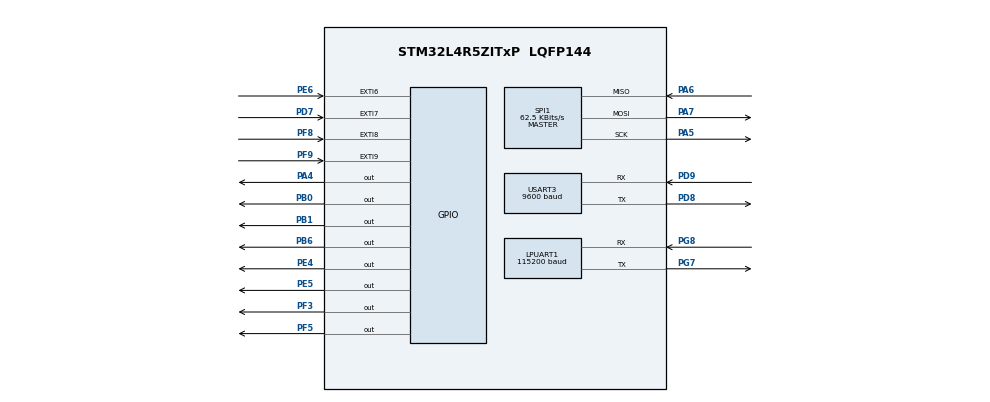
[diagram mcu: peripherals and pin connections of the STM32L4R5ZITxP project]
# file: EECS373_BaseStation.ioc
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LPUART1.BaudRate=115200
LPUART1.WordLength=UART_WORDLENGTH_8B
Mcu.Family=STM32L4
Mcu.Name=STM32L4R5ZITxP
Mcu.Package=LQFP144
NVIC.EXTI9_5_IRQn=true\:0\:0\:false\:false\:true\:true\:true\:true
NVIC.PriorityGroup=NVIC_PRIORITYGROUP_4
PA0.Signal=S_TIM2_CH1
PA1.Signal=ADCx_IN6
PA10.Signal=USB_OTG_FS_ID
PA13\ (JTMS/SWDIO).Signal=SYS_JTMS-SWDIO
PA14\ (JTCK/SWCLK).Signal=SYS_JTCK-SWCLK
PA3.Signal=ADCx_IN8
PA4.Signal=GPIO_Output
PA5.Mode=Full_Duplex_Master
PA5.Signal=SPI1_SCK
PA6.Mode=Full_Duplex_Master
PA6.Signal=SPI1_MISO
PA7.Mode=Full_Duplex_Master
PA7.Signal=SPI1_MOSI
PA8.Signal=USB_OTG_FS_SOF
PA9.Signal=USB_OTG_FS_VBUS
PB0.Signal=GPIO_Output
PB1.Signal=GPIO_Output
PB10.Signal=S_TIM2_CH3
PB12.Signal=SAI2_FS_A
PB13.Signal=SAI2_SCK_A
PB14.Signal=S_TIM15_CH1
PB15.Signal=SAI2_SD_A
PB2.Signal=COMP1_INP
PB3\ (JTDO/TRACESWO).Signal=SPI3_SCK
PB4\ (NJTRST).Signal=SPI3_MISO
PB5.Signal=SPI3_MOSI
PB6.Signal=GPIO_Output
PB8.Signal=I2C1_SCL
PB9.Signal=I2C1_SDA
PC0.Signal=ADCx_IN1
PC1.Signal=ADCx_IN2
PC10.Signal=SDMMC1_D2
PC11.Signal=SDMMC1_D3
PC12.Signal=SDMMC1_CK
PC13.Signal=SYS_WKUP2
PC14-OSC32_IN\ (PC14).Signal=RCC_OSC32_IN
PC15-OSC32_OUT\ (PC15).Signal=RCC_OSC32_OUT
PC2.Signal=ADCx_IN3
PC3.Signal=ADCx_IN4
PC4.Signal=ADCx_IN13
PC5.Signal=ADCx_IN14
PC6.Signal=SAI2_MCLK_A
PC7.Signal=S_TIM3_CH2
PC8.Signal=SDMMC1_D0
PC9.Signal=SDMMC1_D1
PD0.Signal=CAN1_RX
PD14.Signal=S_TIM4_CH3
PD15.Signal=S_TIM4_CH4
PD2.Signal=SDMMC1_CMD
PD3.Signal=USART2_CTS
PD4.Signal=USART2_RTS
PD5.Signal=USART2_TX
PD6.Signal=USART2_RX
PD7.GPIO_PuPd=GPIO_PULLDOWN
PD7.Signal=GPXTI7
PD8.Mode=Asynchronous
PD8.Signal=USART3_TX
PD9.Mode=Asynchronous
PD9.Signal=USART3_RX
PE0.Signal=S_TIM4_ETR
PE10.Signal=TIM1_CH2N
PE11.Signal=S_TIM1_CH2
PE12.Signal=TIM1_CH3N
PE13.Signal=S_TIM1_CH3
PE14.Signal=TIM1_BKIN2
PE15.Signal=TIM1_BKIN
PE2.Signal=SAI1_MCLK_A
PE3.Signal=SAI1_SD_B
PE4.Signal=GPIO_Output
PE5.Signal=GPIO_Output
PE6.GPIO_PuPd=GPIO_PULLDOWN
PE6.Signal=GPXTI6
PE7.Signal=S_TIM1_ETR
PE8.Signal=TIM1_CH1N
PE9.Signal=S_TIM1_CH1
PF0.Signal=I2C2_SDA
PF1.Signal=I2C2_SCL
PF2.Signal=I2C2_SMBA
PF3.Signal=GPIO_Output
PF5.Signal=GPIO_Output
PF7.Signal=SAI1_MCLK_B
PF8.GPIO_PuPd=GPIO_PULLDOWN
PF8.Signal=GPXTI8
PF9.GPIO_PuPd=GPIO_PULLDOWN
PF9.Signal=GPXTI9
PG7.Mode=Asynchronous
PG7.Signal=LPUART1_TX
PG8.Mode=Asynchronous
PG8.Signal=LPUART1_RX
PH0-OSC_IN\ (PH0).Signal=RCC_OSC_IN
PH1-OSC_OUT\ (PH1).Signal=RCC_OSC_OUT
ProjectManager.HeapSize=0x200
ProjectManager.StackSize=0x400
ProjectManager.TargetToolchain=STM32CubeIDE
RCC.HSE_VALUE=8000000
RCC.HSI48_VALUE=48000000
RCC.HSI_VALUE=16000000
RCC.LSE_VALUE=32768
RCC.MSI_VALUE=4000000
RCC.VCOOutputFreq_Value=32000000
SH.ADCx_IN1.0=ADC1_IN1
SH.ADCx_IN13.0=ADC1_IN13
SH.ADCx_IN14.0=ADC1_IN14
SH.ADCx_IN2.0=ADC1_IN2
SH.ADCx_IN3.0=ADC1_IN3
SH.ADCx_IN4.0=ADC1_IN4
SH.ADCx_IN6.0=ADC1_IN6
SH.ADCx_IN8.0=ADC1_IN8
SH.S_TIM15_CH1.0=TIM15_CH1
SH.S_TIM1_CH1.0=TIM1_CH1
SH.S_TIM1_CH2.0=TIM1_CH2
SH.S_TIM1_CH3.0=TIM1_CH3
SH.S_TIM1_ETR.0=TIM1_ETR
SH.S_TIM2_CH1.0=TIM2_CH1
SH.S_TIM2_CH3.0=TIM2_CH3
SH.S_TIM3_CH2.0=TIM3_CH2
SH.S_TIM4_CH3.0=TIM4_CH3
SH.S_TIM4_CH4.0=TIM4_CH4
SH.S_TIM4_ETR.0=TIM4_ETR
SPI1.BaudRatePrescaler=SPI_BAUDRATEPRESCALER_64
SPI1.CalculateBaudRate=62.5 KBits/s
SPI1.DataSize=SPI_DATASIZE_8BIT
SPI1.Direction=SPI_DIRECTION_2LINES
SPI1.FirstBit=SPI_FIRSTBIT_LSB
SPI1.Mode=SPI_MODE_MASTER
SPI1.NSSPMode=SPI_NSS_PULSE_DISABLE
SPI1.VirtualType=VM_MASTER
USART3.BaudRate=9600
USART3.FIFOMode=FIFOMODE_ENABLE
USART3.VirtualMode-Asynchronous=VM_ASYNC
board=NUCLEO-L4R5ZI-P

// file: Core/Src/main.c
/* USER CODE BEGIN Header */
/**
  ******************************************************************************
  * @file           : main.c
  * @brief          : Main program body
  ******************************************************************************
  * @attention
  *
  * Copyright (c) 2024 STMicroelectronics.
  * All rights reserved.
  *
  * This software is licensed under terms that can be found in the LICENSE file
  * in the root directory of this software component.
  * If no LICENSE file comes with this software, it is provided AS-IS.
  *
  ******************************************************************************
  */
/* USER CODE END Header */
#include "main.h"

/* USER CODE BEGIN Includes */
#include <stdio.h>
#include "stdio.h"
#include <string.h>
#include <stdarg.h>
#include "ili9341.h"
#include "ili9341_touch.h"
#include "fonts.h"
#include "numpad.h"
#include "display.h"
#include "controller.h"
#include <math.h>
/* USER CODE END Includes */

UART_HandleTypeDef hlpuart1;
UART_HandleTypeDef huart3;

SPI_HandleTypeDef hspi1;

void SystemClock_Config(void);
static void MX_GPIO_Init(void);
static void MX_SPI1_Init(void);
static void MX_SPI1_Init_But_LSB(void);
static void MX_LPUART1_UART_Init(void);
static void MX_USART3_UART_Init(void);

/* USER CODE BEGIN 0 */
void init() {
    ILI9341_Unselect();
    ILI9341_TouchUnselect();
    ILI9341_Init();
    NUMPAD_init();
    DISPLAY_init();

    MX_SPI1_Init_But_LSB();
    CONTROLLER_init();
    MX_SPI1_Init();
}

void HAL_GPIO_EXTI_Callback(uint16_t pin) {
	printf("hal gpio callback\n");
	NUMPAD_update();

	for (int i; i<100; i++);
}

void _1ms_utilization_trace(uint16_t pin){
	HAL_GPIO_WritePin(GPIOD, pin, GPIO_PIN_SET);
	for (volatile uint32_t i=0; i<355; i++)asm("");
	HAL_GPIO_WritePin(GPIOD, pin, GPIO_PIN_RESET);
}
/* USER CODE END 0 */

int main(void)
{

  /* MCU Configuration--------------------------------------------------------*/

  /* Reset of all peripherals, Initializes the Flash interface and the Systick. */
  HAL_Init();

  /* Configure the system clock */
  SystemClock_Config();

  /* Initialize all configured peripherals */
  MX_GPIO_Init();
  MX_SPI1_Init();
  MX_LPUART1_UART_Init();
  MX_USART3_UART_Init();
  /* USER CODE BEGIN 2 */

  // User defined initialization
  init();

  /* USER CODE END 2 */

  /* Infinite loop */
  while (1)
  {

    /* USER CODE BEGIN 3 */

	  //HAL_Delay(250);

	  // CONTROLLER
	  MX_SPI1_Init_But_LSB();
	  CONTROLLER_update();
	  MX_SPI1_Init();
	  // CONTROLLER END

	  //HAL_Delay(250);

	  // XBEE
//	  HAL_UART_Transmit(&huart3, &buffer, sizeof(buffer), 1000);
	  // XBEE END

	  // IMU
	  uint8_t rec_data[6] = {255, 255, 0, 0, 0, 0};
	  HAL_UART_Receive(&huart3, &rec_data, 2, 250);

	  int16_t zRaw = (rec_data[0] << 8) | rec_data[1];

	  if (zRaw != -1)
	  {
	  //  int16_t yRaw = (rec_data[2] << 8) | rec_data[3];
	  //  int16_t zRaw = (rec_data[4] << 8) | rec_data[5];

	  	  double zFloat = (double)zRaw/0x4000;
	  	  double zAbs = fabs(zFloat);
	  	  double zDiv = zAbs / 1.05;
	  	  double theta = acos(zDiv);

	  //  printf("x axis raw: %d x axis scaled: %f g\n", xRaw, (float)xRaw/0x4000);
	  //  printf("y axis raw: %d y axis scaled: %f g\n", yRaw, (float)yRaw/0x4000);
	  	  printf("z axis raw: %d z axis scaled: %f g z axis tilt: %f %f %f \n", zRaw, zFloat, zAbs, zDiv, theta);

	  	  printf("theta: %f\n", theta);
	  	  DISPLAY_tilt(theta);
	  }
	  // IMU END
  }
  /* USER CODE END 3 */
}

void SystemClock_Config(void)
{
  RCC_OscInitTypeDef RCC_OscInitStruct = {0};
  RCC_ClkInitTypeDef RCC_ClkInitStruct = {0};

  /** Configure the main internal regulator output voltage
  */
  if (HAL_PWREx_ControlVoltageScaling(PWR_REGULATOR_VOLTAGE_SCALE1) != HAL_OK)
  {
    Error_Handler();
  }

  /** Initializes the RCC Oscillators according to the specified parameters
  * in the RCC_OscInitTypeDef structure.
  */
  RCC_OscInitStruct.OscillatorType = RCC_OSCILLATORTYPE_MSI;
  RCC_OscInitStruct.MSIState = RCC_MSI_ON;
  RCC_OscInitStruct.MSICalibrationValue = 0;
  RCC_OscInitStruct.MSIClockRange = RCC_MSIRANGE_6;
  RCC_OscInitStruct.PLL.PLLState = RCC_PLL_NONE;
  if (HAL_RCC_OscConfig(&RCC_OscInitStruct) != HAL_OK)
  {
    Error_Handler();
  }

  /** Initializes the CPU, AHB and APB buses clocks
  */
  RCC_ClkInitStruct.ClockType = RCC_CLOCKTYPE_HCLK|RCC_CLOCKTYPE_SYSCLK
                              |RCC_CLOCKTYPE_PCLK1|RCC_CLOCKTYPE_PCLK2;
  RCC_ClkInitStruct.SYSCLKSource = RCC_SYSCLKSOURCE_MSI;
  RCC_ClkInitStruct.AHBCLKDivider = RCC_SYSCLK_DIV1;
  RCC_ClkInitStruct.APB1CLKDivider = RCC_HCLK_DIV1;
  RCC_ClkInitStruct.APB2CLKDivider = RCC_HCLK_DIV1;

  if (HAL_RCC_ClockConfig(&RCC_ClkInitStruct, FLASH_LATENCY_0) != HAL_OK)
  {
    Error_Handler();
  }
}

static void MX_LPUART1_UART_Init(void)
{

  hlpuart1.Instance = LPUART1;
  hlpuart1.Init.BaudRate = 115200;
  hlpuart1.Init.WordLength = UART_WORDLENGTH_8B;
  hlpuart1.Init.StopBits = UART_STOPBITS_1;
  hlpuart1.Init.Parity = UART_PARITY_NONE;
  hlpuart1.Init.Mode = UART_MODE_TX_RX;
  hlpuart1.Init.HwFlowCtl = UART_HWCONTROL_NONE;
  hlpuart1.Init.OneBitSampling = UART_ONE_BIT_SAMPLE_DISABLE;
  hlpuart1.Init.ClockPrescaler = UART_PRESCALER_DIV1;
  hlpuart1.AdvancedInit.AdvFeatureInit = UART_ADVFEATURE_NO_INIT;
  hlpuart1.FifoMode = UART_FIFOMODE_DISABLE;
  if (HAL_UART_Init(&hlpuart1) != HAL_OK)
  {
    Error_Handler();
  }
  if (HAL_UARTEx_SetTxFifoThreshold(&hlpuart1, UART_TXFIFO_THRESHOLD_1_8) != HAL_OK)
  {
    Error_Handler();
  }
  if (HAL_UARTEx_SetRxFifoThreshold(&hlpuart1, UART_RXFIFO_THRESHOLD_1_8) != HAL_OK)
  {
    Error_Handler();
  }
  if (HAL_UARTEx_DisableFifoMode(&hlpuart1) != HAL_OK)
  {
    Error_Handler();
  }

}

static void MX_USART3_UART_Init(void)
{

  huart3.Instance = USART3;
  huart3.Init.BaudRate = 9600;
  huart3.Init.WordLength = UART_WORDLENGTH_8B;
  huart3.Init.StopBits = UART_STOPBITS_1;
  huart3.Init.Parity = UART_PARITY_NONE;
  huart3.Init.Mode = UART_MODE_TX_RX;
  huart3.Init.HwFlowCtl = UART_HWCONTROL_NONE;
  huart3.Init.OverSampling = UART_OVERSAMPLING_16;
  huart3.Init.OneBitSampling = UART_ONE_BIT_SAMPLE_DISABLE;
  huart3.Init.ClockPrescaler = UART_PRESCALER_DIV1;
  huart3.AdvancedInit.AdvFeatureInit = UART_ADVFEATURE_NO_INIT;
  if (HAL_UART_Init(&huart3) != HAL_OK)
  {
    Error_Handler();
  }
  if (HAL_UARTEx_SetTxFifoThreshold(&huart3, UART_TXFIFO_THRESHOLD_1_8) != HAL_OK)
  {
    Error_Handler();
  }
  if (HAL_UARTEx_SetRxFifoThreshold(&huart3, UART_RXFIFO_THRESHOLD_1_8) != HAL_OK)
  {
    Error_Handler();
  }
  if (HAL_UARTEx_DisableFifoMode(&huart3) != HAL_OK)
  {
    Error_Handler();
  }

}

static void MX_SPI1_Init(void)
{

  /* SPI1 parameter configuration*/
  hspi1.Instance = SPI1;
  hspi1.Init.Mode = SPI_MODE_MASTER;
  hspi1.Init.Direction = SPI_DIRECTION_2LINES;
  hspi1.Init.DataSize = SPI_DATASIZE_8BIT;
  hspi1.Init.CLKPolarity = SPI_POLARITY_LOW;
  hspi1.Init.CLKPhase = SPI_PHASE_1EDGE;
  hspi1.Init.NSS = SPI_NSS_SOFT;
  hspi1.Init.BaudRatePrescaler = SPI_BAUDRATEPRESCALER_4;
  hspi1.Init.FirstBit = SPI_FIRSTBIT_MSB;
  hspi1.Init.TIMode = SPI_TIMODE_DISABLE;
  hspi1.Init.CRCCalculation = SPI_CRCCALCULATION_DISABLE;
  hspi1.Init.CRCPolynomial = 7;
  hspi1.Init.CRCLength = SPI_CRC_LENGTH_DATASIZE;
  hspi1.Init.NSSPMode = SPI_NSS_PULSE_DISABLE;
  if (HAL_SPI_Init(&hspi1) != HAL_OK)
  {
    Error_Handler();
  }

}

static void MX_SPI1_Init_But_LSB(void)
{

  /* SPI1 parameter configuration*/
  hspi1.Instance = SPI1;
  hspi1.Init.Mode = SPI_MODE_MASTER;
  hspi1.Init.Direction = SPI_DIRECTION_2LINES;
  hspi1.Init.DataSize = SPI_DATASIZE_8BIT;
  hspi1.Init.CLKPolarity = SPI_POLARITY_LOW;
  hspi1.Init.CLKPhase = SPI_PHASE_1EDGE;
  hspi1.Init.NSS = SPI_NSS_SOFT;
  hspi1.Init.BaudRatePrescaler = SPI_BAUDRATEPRESCALER_64;
  hspi1.Init.FirstBit = SPI_FIRSTBIT_LSB;
  hspi1.Init.TIMode = SPI_TIMODE_DISABLE;
  hspi1.Init.CRCCalculation = SPI_CRCCALCULATION_DISABLE;
  hspi1.Init.CRCPolynomial = 7;
  hspi1.Init.CRCLength = SPI_CRC_LENGTH_DATASIZE;
  hspi1.Init.NSSPMode = SPI_NSS_PULSE_DISABLE;
  if (HAL_SPI_Init(&hspi1) != HAL_OK)
  {
    Error_Handler();
  }

}

static void MX_GPIO_Init(void)
{
  GPIO_InitTypeDef GPIO_InitStruct = {0};

  /* GPIO Ports Clock Enable */
  __HAL_RCC_GPIOE_CLK_ENABLE();
  __HAL_RCC_GPIOC_CLK_ENABLE();
  __HAL_RCC_GPIOF_CLK_ENABLE();
  __HAL_RCC_GPIOH_CLK_ENABLE();
  __HAL_RCC_GPIOA_CLK_ENABLE();
  __HAL_RCC_GPIOB_CLK_ENABLE();
  __HAL_RCC_GPIOD_CLK_ENABLE();
  __HAL_RCC_GPIOG_CLK_ENABLE();
  HAL_PWREx_EnableVddIO2();

  /*Configure GPIO pin Output Level */
  HAL_GPIO_WritePin(GPIOE, GPIO_PIN_4|GPIO_PIN_5, GPIO_PIN_RESET);

  /*Configure GPIO pin Output Level */
  HAL_GPIO_WritePin(GPIOF, GPIO_PIN_3|GPIO_PIN_5, GPIO_PIN_RESET);

  /*Configure GPIO pin Output Level */
  HAL_GPIO_WritePin(GPIOA, GPIO_PIN_4, GPIO_PIN_RESET);

  /*Configure GPIO pin Output Level */
  HAL_GPIO_WritePin(GPIOB, GPIO_PIN_0|GPIO_PIN_1|GPIO_PIN_6, GPIO_PIN_RESET);

  /*Configure GPIO pins : PE2 PE3 */
  GPIO_InitStruct.Pin = GPIO_PIN_2|GPIO_PIN_3;
  GPIO_InitStruct.Mode = GPIO_MODE_AF_PP;
  GPIO_InitStruct.Pull = GPIO_NOPULL;
  GPIO_InitStruct.Speed = GPIO_SPEED_FREQ_LOW;
  GPIO_InitStruct.Alternate = GPIO_AF13_SAI1;
  HAL_GPIO_Init(GPIOE, &GPIO_InitStruct);

  /*Configure GPIO pins : PE4 PE5 */
  GPIO_InitStruct.Pin = GPIO_PIN_4|GPIO_PIN_5;
  GPIO_InitStruct.Mode = GPIO_MODE_OUTPUT_PP;
  GPIO_InitStruct.Pull = GPIO_NOPULL;
  GPIO_InitStruct.Speed = GPIO_SPEED_FREQ_LOW;
  HAL_GPIO_Init(GPIOE, &GPIO_InitStruct);

  /*Configure GPIO pin : PE6 */
  GPIO_InitStruct.Pin = GPIO_PIN_6;
  GPIO_InitStruct.Mode = GPIO_MODE_IT_RISING;
  GPIO_InitStruct.Pull = GPIO_PULLDOWN;
  HAL_GPIO_Init(GPIOE, &GPIO_InitStruct);

  /*Configure GPIO pins : PF0 PF1 PF2 */
  GPIO_InitStruct.Pin = GPIO_PIN_0|GPIO_PIN_1|GPIO_PIN_2;
  GPIO_InitStruct.Mode = GPIO_MODE_AF_OD;
  GPIO_InitStruct.Pull = GPIO_NOPULL;
  GPIO_InitStruct.Speed = GPIO_SPEED_FREQ_VERY_HIGH;
  GPIO_InitStruct.Alternate = GPIO_AF4_I2C2;
  HAL_GPIO_Init(GPIOF, &GPIO_InitStruct);

  /*Configure GPIO pins : PF3 PF5 */
  GPIO_InitStruct.Pin = GPIO_PIN_3|GPIO_PIN_5;
  GPIO_InitStruct.Mode = GPIO_MODE_OUTPUT_PP;
  GPIO_InitStruct.Pull = GPIO_NOPULL;
  GPIO_InitStruct.Speed = GPIO_SPEED_FREQ_LOW;
  HAL_GPIO_Init(GPIOF, &GPIO_InitStruct);

  /*Configure GPIO pin : PF7 */
  GPIO_InitStruct.Pin = GPIO_PIN_7;
  GPIO_InitStruct.Mode = GPIO_MODE_AF_PP;
  GPIO_InitStruct.Pull = GPIO_NOPULL;
  GPIO_InitStruct.Speed = GPIO_SPEED_FREQ_LOW;
  GPIO_InitStruct.Alternate = GPIO_AF13_SAI1;
  HAL_GPIO_Init(GPIOF, &GPIO_InitStruct);

  /*Configure GPIO pins : PF8 PF9 */
  GPIO_InitStruct.Pin = GPIO_PIN_8|GPIO_PIN_9;
  GPIO_InitStruct.Mode = GPIO_MODE_IT_RISING;
  GPIO_InitStruct.Pull = GPIO_PULLDOWN;
  HAL_GPIO_Init(GPIOF, &GPIO_InitStruct);

  /*Configure GPIO pins : PC0 PC1 PC2 PC3
                           PC4 PC5 */
  GPIO_InitStruct.Pin = GPIO_PIN_0|GPIO_PIN_1|GPIO_PIN_2|GPIO_PIN_3
                          |GPIO_PIN_4|GPIO_PIN_5;
  GPIO_InitStruct.Mode = GPIO_MODE_ANALOG_ADC_CONTROL;
  GPIO_InitStruct.Pull = GPIO_NOPULL;
  HAL_GPIO_Init(GPIOC, &GPIO_InitStruct);

  /*Configure GPIO pin : PA0 */
  GPIO_InitStruct.Pin = GPIO_PIN_0;
  GPIO_InitStruct.Mode = GPIO_MODE_AF_PP;
  GPIO_InitStruct.Pull = GPIO_NOPULL;
  GPIO_InitStruct.Speed = GPIO_SPEED_FREQ_LOW;
  GPIO_InitStruct.Alternate = GPIO_AF1_TIM2;
  HAL_GPIO_Init(GPIOA, &GPIO_InitStruct);

  /*Configure GPIO pins : PA1 PA3 */
  GPIO_InitStruct.Pin = GPIO_PIN_1|GPIO_PIN_3;
  GPIO_InitStruct.Mode = GPIO_MODE_ANALOG_ADC_CONTROL;
  GPIO_InitStruct.Pull = GPIO_NOPULL;
  HAL_GPIO_Init(GPIOA, &GPIO_InitStruct);

  /*Configure GPIO pin : PA4 */
  GPIO_InitStruct.Pin = GPIO_PIN_4;
  GPIO_InitStruct.Mode = GPIO_MODE_OUTPUT_PP;
  GPIO_InitStruct.Pull = GPIO_NOPULL;
  GPIO_InitStruct.Speed = GPIO_SPEED_FREQ_LOW;
  HAL_GPIO_Init(GPIOA, &GPIO_InitStruct);

  /*Configure GPIO pins : PB0 PB1 PB6 */
  GPIO_InitStruct.Pin = GPIO_PIN_0|GPIO_PIN_1|GPIO_PIN_6;
  GPIO_InitStruct.Mode = GPIO_MODE_OUTPUT_PP;
  GPIO_InitStruct.Pull = GPIO_NOPULL;
  GPIO_InitStruct.Speed = GPIO_SPEED_FREQ_LOW;
  HAL_GPIO_Init(GPIOB, &GPIO_InitStruct);

  /*Configure GPIO pin : PB2 */
  GPIO_InitStruct.Pin = GPIO_PIN_2;
  GPIO_InitStruct.Mode = GPIO_MODE_ANALOG;
  GPIO_InitStruct.Pull = GPIO_NOPULL;
  HAL_GPIO_Init(GPIOB, &GPIO_InitStruct);

  /*Configure GPIO pins : PE7 PE8 PE9 PE10
                           PE11 PE12 PE13 */
  GPIO_InitStruct.Pin = GPIO_PIN_7|GPIO_PIN_8|GPIO_PIN_9|GPIO_PIN_10
                          |GPIO_PIN_11|GPIO_PIN_12|GPIO_PIN_13;
  GPIO_InitStruct.Mode = GPIO_MODE_AF_PP;
  GPIO_InitStruct.Pull = GPIO_NOPULL;
  GPIO_InitStruct.Speed = GPIO_SPEED_FREQ_LOW;
  GPIO_InitStruct.Alternate = GPIO_AF1_TIM1;
  HAL_GPIO_Init(GPIOE, &GPIO_InitStruct);

  /*Configure GPIO pins : PE14 PE15 */
  GPIO_InitStruct.Pin = GPIO_PIN_14|GPIO_PIN_15;
  GPIO_InitStruct.Mode = GPIO_MODE_AF_PP;
  GPIO_InitStruct.Pull = GPIO_NOPULL;
  GPIO_InitStruct.Speed = GPIO_SPEED_FREQ_LOW;
  GPIO_InitStruct.Alternate = GPIO_AF3_TIM1_COMP1;
  HAL_GPIO_Init(GPIOE, &GPIO_InitStruct);

  /*Configure GPIO pin : PB10 */
  GPIO_InitStruct.Pin = GPIO_PIN_10;
  GPIO_InitStruct.Mode = GPIO_MODE_AF_PP;
  GPIO_InitStruct.Pull = GPIO_NOPULL;
  GPIO_InitStruct.Speed = GPIO_SPEED_FREQ_LOW;
  GPIO_InitStruct.Alternate = GPIO_AF1_TIM2;
  HAL_GPIO_Init(GPIOB, &GPIO_InitStruct);

  /*Configure GPIO pins : PB12 PB13 PB15 */
  GPIO_InitStruct.Pin = GPIO_PIN_12|GPIO_PIN_13|GPIO_PIN_15;
  GPIO_InitStruct.Mode = GPIO_MODE_AF_PP;
  GPIO_InitStruct.Pull = GPIO_NOPULL;
  GPIO_InitStruct.Speed = GPIO_SPEED_FREQ_LOW;
  GPIO_InitStruct.Alternate = GPIO_AF13_SAI2;
  HAL_GPIO_Init(GPIOB, &GPIO_InitStruct);

  /*Configure GPIO pin : PB14 */
  GPIO_InitStruct.Pin = GPIO_PIN_14;
  GPIO_InitStruct.Mode = GPIO_MODE_AF_PP;
  GPIO_InitStruct.Pull = GPIO_NOPULL;
  GPIO_InitStruct.Speed = GPIO_SPEED_FREQ_LOW;
  GPIO_InitStruct.Alternate = GPIO_AF14_TIM15;
  HAL_GPIO_Init(GPIOB, &GPIO_InitStruct);

  /*Configure GPIO pins : PD14 PD15 */
  GPIO_InitStruct.Pin = GPIO_PIN_14|GPIO_PIN_15;
  GPIO_InitStruct.Mode = GPIO_MODE_AF_PP;
  GPIO_InitStruct.Pull = GPIO_NOPULL;
  GPIO_InitStruct.Speed = GPIO_SPEED_FREQ_LOW;
  GPIO_InitStruct.Alternate = GPIO_AF2_TIM4;
  HAL_GPIO_Init(GPIOD, &GPIO_InitStruct);

  /*Configure GPIO pin : PC6 */
  GPIO_InitStruct.Pin = GPIO_PIN_6;
  GPIO_InitStruct.Mode = GPIO_MODE_AF_PP;
  GPIO_InitStruct.Pull = GPIO_NOPULL;
  GPIO_InitStruct.Speed = GPIO_SPEED_FREQ_LOW;
  GPIO_InitStruct.Alternate = GPIO_AF13_SAI2;
  HAL_GPIO_Init(GPIOC, &GPIO_InitStruct);

  /*Configure GPIO pin : PC7 */
  GPIO_InitStruct.Pin = GPIO_PIN_7;
  GPIO_InitStruct.Mode = GPIO_MODE_AF_PP;
  GPIO_InitStruct.Pull = GPIO_NOPULL;
  GPIO_InitStruct.Speed = GPIO_SPEED_FREQ_LOW;
  GPIO_InitStruct.Alternate = GPIO_AF2_TIM3;
  HAL_GPIO_Init(GPIOC, &GPIO_InitStruct);

  /*Configure GPIO pins : PC8 PC9 PC10 PC11
                           PC12 */
  GPIO_InitStruct.Pin = GPIO_PIN_8|GPIO_PIN_9|GPIO_PIN_10|GPIO_PIN_11
                          |GPIO_PIN_12;
  GPIO_InitStruct.Mode = GPIO_MODE_AF_PP;
  GPIO_InitStruct.Pull = GPIO_NOPULL;
  GPIO_InitStruct.Speed = GPIO_SPEED_FREQ_VERY_HIGH;
  GPIO_InitStruct.Alternate = GPIO_AF12_SDMMC1;
  HAL_GPIO_Init(GPIOC, &GPIO_InitStruct);

  /*Configure GPIO pins : PA8 PA10 */
  GPIO_InitStruct.Pin = GPIO_PIN_8|GPIO_PIN_10;
  GPIO_InitStruct.Mode = GPIO_MODE_AF_PP;
  GPIO_InitStruct.Pull = GPIO_NOPULL;
  GPIO_InitStruct.Speed = GPIO_SPEED_FREQ_VERY_HIGH;
  GPIO_InitStruct.Alternate = GPIO_AF10_OTG_FS;
  HAL_GPIO_Init(GPIOA, &GPIO_InitStruct);

  /*Configure GPIO pin : PA9 */
  GPIO_InitStruct.Pin = GPIO_PIN_9;
  GPIO_InitStruct.Mode = GPIO_MODE_INPUT;
  GPIO_InitStruct.Pull = GPIO_NOPULL;
  HAL_GPIO_Init(GPIOA, &GPIO_InitStruct);

  /*Configure GPIO pin : PD0 */
  GPIO_InitStruct.Pin = GPIO_PIN_0;
  GPIO_InitStruct.Mode = GPIO_MODE_AF_PP;
  GPIO_InitStruct.Pull = GPIO_NOPULL;
  GPIO_InitStruct.Speed = GPIO_SPEED_FREQ_VERY_HIGH;
  GPIO_InitStruct.Alternate = GPIO_AF9_CAN1;
  HAL_GPIO_Init(GPIOD, &GPIO_InitStruct);

  /*Configure GPIO pin : PD2 */
  GPIO_InitStruct.Pin = GPIO_PIN_2;
  GPIO_InitStruct.Mode = GPIO_MODE_AF_PP;
  GPIO_InitStruct.Pull = GPIO_NOPULL;
  GPIO_InitStruct.Speed = GPIO_SPEED_FREQ_VERY_HIGH;
  GPIO_InitStruct.Alternate = GPIO_AF12_SDMMC1;
  HAL_GPIO_Init(GPIOD, &GPIO_InitStruct);

  /*Configure GPIO pins : PD3 PD4 PD5 PD6 */
  GPIO_InitStruct.Pin = GPIO_PIN_3|GPIO_PIN_4|GPIO_PIN_5|GPIO_PIN_6;
  GPIO_InitStruct.Mode = GPIO_MODE_AF_PP;
  GPIO_InitStruct.Pull = GPIO_NOPULL;
  GPIO_InitStruct.Speed = GPIO_SPEED_FREQ_VERY_HIGH;
  GPIO_InitStruct.Alternate = GPIO_AF7_USART2;
  HAL_GPIO_Init(GPIOD, &GPIO_InitStruct);

  /*Configure GPIO pin : PD7 */
  GPIO_InitStruct.Pin = GPIO_PIN_7;
  GPIO_InitStruct.Mode = GPIO_MODE_IT_RISING;
  GPIO_InitStruct.Pull = GPIO_PULLDOWN;
  HAL_GPIO_Init(GPIOD, &GPIO_InitStruct);

  /*Configure GPIO pins : PB3 PB4 PB5 */
  GPIO_InitStruct.Pin = GPIO_PIN_3|GPIO_PIN_4|GPIO_PIN_5;
  GPIO_InitStruct.Mode = GPIO_MODE_AF_PP;
  GPIO_InitStruct.Pull = GPIO_NOPULL;
  GPIO_InitStruct.Speed = GPIO_SPEED_FREQ_VERY_HIGH;
  GPIO_InitStruct.Alternate = GPIO_AF6_SPI3;
  HAL_GPIO_Init(GPIOB, &GPIO_InitStruct);

  /*Configure GPIO pins : PB8 PB9 */
  GPIO_InitStruct.Pin = GPIO_PIN_8|GPIO_PIN_9;
  GPIO_InitStruct.Mode = GPIO_MODE_AF_OD;
  GPIO_InitStruct.Pull = GPIO_NOPULL;
  GPIO_InitStruct.Speed = GPIO_SPEED_FREQ_VERY_HIGH;
  GPIO_InitStruct.Alternate = GPIO_AF4_I2C1;
  HAL_GPIO_Init(GPIOB, &GPIO_InitStruct);

  /*Configure GPIO pin : PE0 */
  GPIO_InitStruct.Pin = GPIO_PIN_0;
  GPIO_InitStruct.Mode = GPIO_MODE_AF_PP;
  GPIO_InitStruct.Pull = GPIO_NOPULL;
  GPIO_InitStruct.Speed = GPIO_SPEED_FREQ_LOW;
  GPIO_InitStruct.Alternate = GPIO_AF2_TIM4;
  HAL_GPIO_Init(GPIOE, &GPIO_InitStruct);

  /* EXTI interrupt init*/
  HAL_NVIC_SetPriority(EXTI9_5_IRQn, 0, 0);
  HAL_NVIC_EnableIRQ(EXTI9_5_IRQn);

}

/* USER CODE BEGIN 4 */
#ifdef __GNUC__
#define PUTCHAR_PROTOTYPE int __io_putchar(int ch)
#else
  #define PUTCHAR_PROTOTYPE int fputc(int ch, FILE *f)
#endif /* __GNUC__ */
PUTCHAR_PROTOTYPE
{
  HAL_UART_Transmit(&hlpuart1, (uint8_t *)&ch, 1, 0xFFFF);
  return ch;
}

/* USER CODE END 4 */

void Error_Handler(void)
{
  __disable_irq();
  while (1)
  {
  }
}
